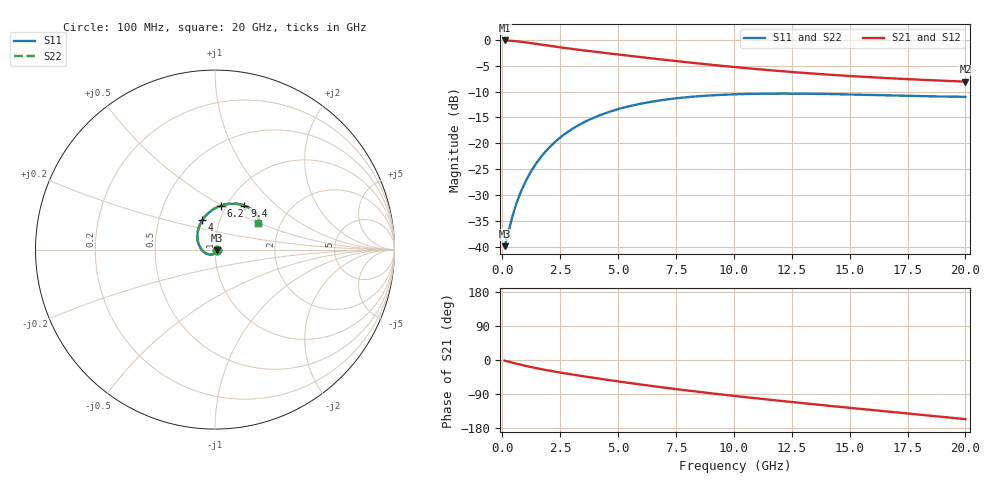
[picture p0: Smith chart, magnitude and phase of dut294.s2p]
! Touchstone file exported from HFSS 2024.1.0
!  File:  C:/UserFiles/LocalFiles/RDL_TSV_Batchsim/temp_RDL_TSV_294_1779468124.aedt
!  Generated:  12:56:25 AM May 23, 2026
!  Design:  RDL_TSV
!  Project:  temp_RDL_TSV_294_1779468124
!  Setup:  Setup1
!  Solution:  Sweep
! Variables:
!  dtsv = 14.13um
!  hbump = 3um
!  htsv = 76.53um
!  ldown = 471.14um
!  lrdl = 142.85um
!  p = 40
!  p1 = 58.79um
!  rhole = 10um
!  subl = 1984.82um
!  t = 450um
!  tdown = 4.32um
!  trdl = 2.75um
!  viad = 10um
!  wdown = 25.57um
!  wrdl = 17.72um
!  xbump = 18um
# GHz S MA R 50.000000
! Terminal data exported
! Port[1] = TM1_1_T1
! Port[2] = TM1_4_T1
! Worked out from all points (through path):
!   200 points, 100 MHz to 20 GHz, reference 50 ohm
!   highest |S21| = -0.09 dB at 100 MHz (marker M1); lowest = -8.1 dB at 20 GHz (marker M2)
!   group delay of S21, straight-line fit = 20.2 ps
!   lowest |S11| = -39.9 dB at 100 MHz (marker M3), VSWR 1.02, Z = 50.9 - j0.467 ohm
!   |S11| at or under -10 dB: start of sweep to end of sweep
!   |S22| runs from -39.9 to -10.3 dB; largest |S21 - S12| = 3e-14
!   S11 on the Smith chart (normalised r, x): 100 MHz: 1.02, -0.01; 4 GHz: 0.83, +0.28; 6.2 GHz: 0.95, +0.49; 9.4 GHz: 1.20, +0.64; 20 GHz: 1.53, +0.50
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0.1  0.01011 -27.0  0.99 -1.7  0.99 -1.7  0.0101 -27.0
! Gamma 0 0 0 0
! Port Impedance 50 0 50 0
0.5  0.02186 -96.1  0.9779 -8.1  0.9779 -8.1  0.02185 -96.1
0.7  0.02968 -116.6  0.9679 -11.1  0.9679 -11.1  0.02968 -116.6
1  0.04246 -140.6  0.9496 -15.4  0.9496 -15.4  0.04249 -140.7
1.3  0.05615 -159.9  0.9291 -19.4  0.9291 -19.4  0.05621 -160.0
1.5  0.0656 -170.8  0.915 -21.9  0.915 -21.9  0.06569 -170.9
1.8  0.08005 174.9  0.8942 -25.5  0.8942 -25.5  0.0802 174.8
2.3  0.1042 155.5  0.8615 -31.0  0.8615 -31.0  0.1045 155.4
2.9  0.1324 137.3  0.8261 -37.1  0.8261 -37.1  0.1327 137.3
3.5  0.1587 123.0  0.7943 -42.9  0.7943 -42.9  0.1592 122.9
4  0.1789 113.0  0.7696 -47.5  0.7696 -47.5  0.1795 113.0
5  0.2142 96.9  0.724 -56.5  0.724 -56.5  0.2149 96.9
6.2  0.2472 82.1  0.674 -66.6  0.674 -66.6  0.2481 82.1
6.8  0.2602 75.9  0.6508 -71.4  0.6508 -71.4  0.2612 75.9
8.1  0.2812 64.9  0.6048 -81.3  0.6048 -81.3  0.2823 64.9
9.4  0.2941 56.1  0.5646 -90.6  0.5646 -90.6  0.2954 56.1
10.1  0.2984 52.1  0.5452 -95.3  0.5452 -95.3  0.2997 52.2
11.7  0.3029 44.8  0.5067 -105.8  0.5067 -105.8  0.3042 44.8
13.4  0.3017 39.0  0.4736 -116.5  0.4736 -116.5  0.303 39.1
15  0.2972 35.2  0.4484 -126.2  0.4484 -126.2  0.2986 35.3
16.7  0.291 32.8  0.4267 -136.4  0.4267 -136.4  0.2924 32.9
20  0.282 31.8  0.3955 -156.0  0.3955 -156.0  0.2833 31.9
